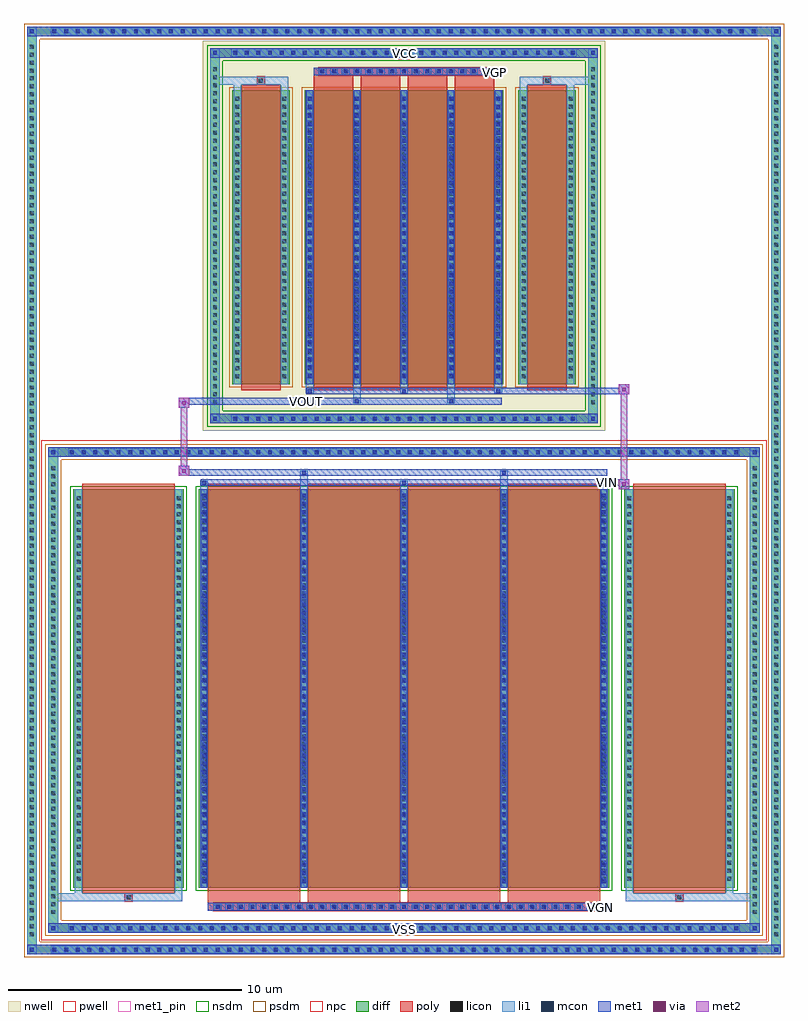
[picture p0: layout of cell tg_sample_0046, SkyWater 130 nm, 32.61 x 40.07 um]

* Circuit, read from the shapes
.subckt tg_sample_0046 VCC VGN VGP VIN VOUT VSS
XM1 VSS VSS VSS VSUBS sky130_fd_pr__nfet_01v8 w=17.09 l=3.96 m=2
XM2 VOUT VGN VIN VSUBS sky130_fd_pr__nfet_01v8 w=17.09 l=3.96 m=4
XM3 VCC VCC VCC n1 sky130_fd_pr__pfet_01v8 w=12.61 l=1.69 m=2
XM4 VOUT VGP VIN n1 sky130_fd_pr__pfet_01v8 w=12.61 l=1.69 m=4
.ends

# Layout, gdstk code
import gdstk
lib = gdstk.Library(unit=1e-6, precision=5e-09)
def R(c, l, rs):  # rectangles x0, y0, x1, y1
    for r in rs: c.add(gdstk.rectangle(r[:2], r[2:], *l))
def A(c, l, x, y, w, h, nx, ny, dx, dy):  # array of equal rectangles
    R(c, l, [(x+i*dx, y+j*dy, x+i*dx+w, y+j*dy+h) for i in range(nx) for j in range(ny)])
def P(c, l, *ps):  # polygons
    for p in ps: c.add(gdstk.Polygon(p, *l))
nwell = (64, 20)
pwell = (64, 44)
diff = (65, 20)
poly = (66, 20)
licon = (66, 44)
li1 = (67, 20)
mcon = (67, 44)
met1_pin = (68, 16)
met1 = (68, 20)
via = (68, 44)
met2 = (69, 20)
nsdm = (93, 44)
psdm = (94, 20)
npc = (95, 20)

tg_sample_0046 = lib.new_cell('tg_sample_0046')
R(tg_sample_0046, nwell, [(-8.625,11.13,8.625,27.86)])
R(tg_sample_0046, pwell, [(-15.565,-10.73,15.565,10.73)])
A(tg_sample_0046, diff, -15.205, -11.34, 0.41, 0.41, 61, 2, 0.5, 39.4)
A(tg_sample_0046, diff, -16.175, -10.68, 0.41, 0.41, 1, 113, 0, 0.34)
A(tg_sample_0046, diff, 15.765, -10.68, 0.41, 0.41, 1, 113, 0, 0.34)
A(tg_sample_0046, diff, -14.455, -10.42, 0.41, 0.41, 58, 2, 0.5, 20.43)
A(tg_sample_0046, diff, -15.255, -9.725, 0.41, 0.41, 1, 57, 0, 0.34)
A(tg_sample_0046, diff, 14.845, -9.725, 0.41, 0.41, 1, 57, 0, 0.34)
A(tg_sample_0046, diff, -7.455, 11.44, 0.41, 0.41, 30, 2, 0.5, 15.7)
A(tg_sample_0046, diff, -8.315, 12.15, 0.41, 0.41, 1, 43, 0, 0.34)
A(tg_sample_0046, diff, 7.905, 12.15, 0.41, 0.41, 1, 43, 0, 0.34)
R(tg_sample_0046, diff, [(-15.205,-11.34,15.205,-10.93), (-16.175,-10.68,-15.765,27.81), (15.765,-10.68,16.175,27.81), (-14.455,-10.42,14.455,-10.01), (-15.255,-9.725,-14.845,9.725), (14.845,-9.725,15.255,9.725), (-14.185,-8.475,-9.445,8.615), (-8.805,-8.475,8.805,8.615), (9.445,-8.475,14.185,8.615), (-14.455,10.01,14.455,10.42), (-7.455,11.44,7.455,11.85), (-8.315,12.15,-7.905,26.84), (7.905,12.15,8.315,26.84), (-7.375,13.12,-4.905,25.73), (-4.265,13.12,4.265,25.73), (4.905,13.12,7.375,25.73), (-7.455,27.14,7.455,27.55), (-15.205,28.06,15.205,28.47)])
P(tg_sample_0046, diff, [(15.255,10.42),(-15.255,10.42),(-15.255,-10.01),(-14.845,-10.01),(-14.845,10.01),(14.845,10.01),(14.845,-10.01),(-14.845,-10.01),(-15.255,-10.01),(-15.255,-10.42),(15.255,-10.42)],
  [(16.175,28.47),(-16.175,28.47),(-16.175,-10.93),(-15.765,-10.93),(-15.765,28.06),(15.765,28.06),(15.765,-10.93),(-15.765,-10.93),(-16.175,-10.93),(-16.175,-11.34),(16.175,-11.34)],
  [(8.315,11.44),(-8.315,11.44),(-8.315,27.14),(-7.905,27.14),(-7.905,11.85),(7.905,11.85),(7.905,27.14),(-7.905,27.14),(-8.315,27.14),(-8.315,27.55),(8.315,27.55)])
A(tg_sample_0046, poly, -8.165, -9.46, 0.33, 0.33, 33, 1, 0.5, 0)
A(tg_sample_0046, poly, -8.415, -9.13, 3.96, 0.405, 4, 1, 4.29, 0)
A(tg_sample_0046, poly, -8.415, -8.725, 3.96, 17.59, 4, 1, 4.29, 0)
A(tg_sample_0046, poly, -3.875, 12.87, 1.69, 13.11, 4, 1, 2.02, 0)
A(tg_sample_0046, poly, -3.875, 25.98, 1.69, 0.405, 4, 1, 2.02, 0)
A(tg_sample_0046, poly, -3.665, 26.385, 0.33, 0.33, 15, 1, 0.5, 0)
R(tg_sample_0046, poly, [(-8.415,-9.46,8.415,-9.13), (-11.98,-9.055,-11.65,-8.725), (-11.98,-9.055,-11.65,-8.725), (11.65,-9.055,11.98,-8.725), (11.65,-9.055,11.98,-8.725), (-13.795,-8.725,-9.835,8.865), (9.835,-8.725,13.795,8.865), (-6.985,12.87,-5.295,25.98), (5.295,12.87,6.985,25.98), (-6.305,25.98,-5.975,26.31), (-6.305,25.98,-5.975,26.31), (5.975,25.98,6.305,26.31), (5.975,25.98,6.305,26.31), (-3.875,26.385,3.875,26.715)])
A(tg_sample_0046, licon, -15.085, -11.22, 0.17, 0.17, 61, 2, 0.5, 39.4)
A(tg_sample_0046, licon, -16.055, -10.56, 0.17, 0.17, 1, 113, 0, 0.34)
A(tg_sample_0046, licon, 15.885, -10.56, 0.17, 0.17, 1, 113, 0, 0.34)
A(tg_sample_0046, licon, -14.335, -10.3, 0.17, 0.17, 58, 2, 0.5, 20.43)
A(tg_sample_0046, licon, -15.135, -9.605, 0.17, 0.17, 1, 57, 0, 0.34)
A(tg_sample_0046, licon, 14.965, -9.605, 0.17, 0.17, 1, 57, 0, 0.34)
A(tg_sample_0046, licon, -8.085, -9.38, 0.17, 0.17, 33, 1, 0.5, 0)
A(tg_sample_0046, licon, -14.045, -8.175, 0.17, 0.17, 1, 49, 0, 0.34)
A(tg_sample_0046, licon, -9.755, -8.175, 0.17, 0.17, 1, 49, 0, 0.34)
A(tg_sample_0046, licon, -8.665, -8.175, 0.17, 0.17, 5, 49, 4.29, 0.34)
A(tg_sample_0046, licon, 9.585, -8.175, 0.17, 0.17, 1, 49, 0, 0.34)
A(tg_sample_0046, licon, 13.875, -8.175, 0.17, 0.17, 1, 49, 0, 0.34)
A(tg_sample_0046, licon, -7.335, 11.56, 0.17, 0.17, 30, 2, 0.5, 15.7)
A(tg_sample_0046, licon, -8.195, 12.27, 0.17, 0.17, 1, 43, 0, 0.34)
A(tg_sample_0046, licon, 8.025, 12.27, 0.17, 0.17, 1, 43, 0, 0.34)
A(tg_sample_0046, licon, -7.235, 13.39, 0.17, 0.17, 1, 36, 0, 0.34)
A(tg_sample_0046, licon, -5.215, 13.39, 0.17, 0.17, 1, 36, 0, 0.34)
A(tg_sample_0046, licon, -4.125, 13.39, 0.17, 0.17, 5, 36, 2.02, 0.34)
A(tg_sample_0046, licon, 5.045, 13.39, 0.17, 0.17, 1, 36, 0, 0.34)
A(tg_sample_0046, licon, 7.065, 13.39, 0.17, 0.17, 1, 36, 0, 0.34)
A(tg_sample_0046, licon, -3.585, 26.465, 0.17, 0.17, 15, 1, 0.5, 0)
R(tg_sample_0046, licon, [(-11.9,-8.975,-11.73,-8.805), (11.73,-8.975,11.9,-8.805), (-6.225,26.06,-6.055,26.23), (6.055,26.06,6.225,26.23)])
A(tg_sample_0046, li1, -15.165, -11.3, 0.33, 0.33, 61, 2, 0.5, 39.4)
A(tg_sample_0046, li1, -16.135, -10.64, 0.33, 0.33, 1, 113, 0, 0.34)
A(tg_sample_0046, li1, 15.805, -10.64, 0.33, 0.33, 1, 113, 0, 0.34)
A(tg_sample_0046, li1, -14.415, -10.38, 0.33, 0.33, 58, 2, 0.5, 20.43)
A(tg_sample_0046, li1, -15.215, -9.685, 0.33, 0.33, 1, 57, 0, 0.34)
A(tg_sample_0046, li1, 14.885, -9.685, 0.33, 0.33, 1, 57, 0, 0.34)
A(tg_sample_0046, li1, -8.165, -9.46, 0.33, 0.33, 33, 1, 0.5, 0)
A(tg_sample_0046, li1, -8.745, -8.475, 0.33, 17.09, 5, 1, 4.29, 0)
A(tg_sample_0046, li1, -8.665, -8.295, 0.17, 0.17, 5, 47, 4.29, 0.36)
A(tg_sample_0046, li1, -8.665, -8.295, 0.17, 16.73, 5, 1, 4.29, 0)
A(tg_sample_0046, li1, -14.125, -8.255, 0.33, 0.33, 1, 49, 0, 0.34)
A(tg_sample_0046, li1, -9.835, -8.255, 0.33, 0.33, 1, 49, 0, 0.34)
A(tg_sample_0046, li1, -8.745, -8.255, 0.33, 0.33, 5, 49, 4.29, 0.34)
A(tg_sample_0046, li1, 9.505, -8.255, 0.33, 0.33, 1, 49, 0, 0.34)
A(tg_sample_0046, li1, 13.795, -8.255, 0.33, 0.33, 1, 49, 0, 0.34)
A(tg_sample_0046, li1, -8.745, 8.615, 0.33, 0.375, 3, 1, 8.58, 0)
A(tg_sample_0046, li1, -8.665, 8.82, 0.17, 0.17, 3, 1, 8.58, 0)
A(tg_sample_0046, li1, -7.415, 11.48, 0.33, 0.33, 30, 2, 0.5, 15.7)
A(tg_sample_0046, li1, -8.275, 12.19, 0.33, 0.33, 1, 43, 0, 0.34)
A(tg_sample_0046, li1, 7.945, 12.19, 0.33, 0.33, 1, 43, 0, 0.34)
A(tg_sample_0046, li1, -4.205, 12.745, 0.33, 0.375, 3, 1, 4.04, 0)
A(tg_sample_0046, li1, -4.125, 12.745, 0.17, 0.17, 3, 1, 4.04, 0)
A(tg_sample_0046, li1, -4.205, 13.12, 0.33, 12.61, 5, 1, 2.02, 0)
A(tg_sample_0046, li1, -7.315, 13.31, 0.33, 0.33, 1, 36, 0, 0.34)
A(tg_sample_0046, li1, -5.295, 13.31, 0.33, 0.33, 1, 36, 0, 0.34)
A(tg_sample_0046, li1, -4.205, 13.31, 0.33, 0.33, 5, 36, 2.02, 0.34)
A(tg_sample_0046, li1, 4.965, 13.31, 0.33, 0.33, 1, 36, 0, 0.34)
A(tg_sample_0046, li1, 6.985, 13.31, 0.33, 0.33, 1, 36, 0, 0.34)
A(tg_sample_0046, li1, -4.125, 13.4, 0.17, 0.17, 5, 34, 2.02, 0.36)
A(tg_sample_0046, li1, -4.125, 13.4, 0.17, 12.05, 5, 1, 2.02, 0)
A(tg_sample_0046, li1, -3.665, 26.385, 0.33, 0.33, 15, 1, 0.5, 0)
R(tg_sample_0046, li1, [(-16.175,-11.34,-15.765,-10.93), (15.765,-11.34,16.175,-10.93), (-15.165,-11.3,15.165,-10.97), (-16.055,-11.22,-15.885,-11.05), (-16.055,-11.22,-15.885,-11.05), (15.885,-11.22,16.055,-11.05), (15.885,-11.22,16.055,-11.05), (-16.175,-10.93,-15.765,28.06), (15.765,-10.93,16.175,28.06), (-15.255,-10.42,-14.845,-10.01), (14.845,-10.42,15.255,-10.01), (-14.415,-10.38,14.415,-10.05), (-15.135,-10.3,-14.965,-10.13), (-15.135,-10.3,-14.965,-10.13), (14.965,-10.3,15.135,-10.13), (14.965,-10.3,15.135,-10.13), (-15.255,-10.01,-14.845,10.01), (14.845,-10.01,15.255,10.01), (-15.255,-9.055,-11.98,-8.725), (-14.125,-9.055,-11.98,-8.725), (-14.125,-9.055,-13.795,-8.475), (-11.98,-9.055,-11.65,-8.725), (-11.65,-9.055,-9.505,-8.725), (-9.835,-9.055,-9.505,-8.475), (9.505,-9.055,11.65,-8.725), (9.505,-9.055,9.835,-8.475), (11.65,-9.055,11.98,-8.725), (11.65,-9.055,15.255,-8.725), (11.98,-9.055,14.125,-8.725), (13.795,-9.055,14.125,-8.475), (-14.125,-8.475,-13.795,8.615), (-9.835,-8.475,-9.505,8.615), (9.505,-8.475,9.835,8.615), (13.795,-8.475,14.125,8.615), (-4.455,8.615,-4.125,9.42), (4.125,8.615,4.455,9.42), (-4.375,9.25,-4.205,9.42), (4.205,9.25,4.375,9.42), (-15.255,10.01,-14.845,10.42), (14.845,10.01,15.255,10.42), (-14.415,10.05,14.415,10.38), (-15.135,10.13,-14.965,10.3), (-15.135,10.13,-14.965,10.3), (14.965,10.13,15.135,10.3), (14.965,10.13,15.135,10.3), (-8.315,11.44,-7.905,11.85), (7.905,11.44,8.315,11.85), (-7.415,11.48,7.415,11.81), (-8.195,11.56,-8.025,11.73), (-8.195,11.56,-8.025,11.73), (8.025,11.56,8.195,11.73), (8.025,11.56,8.195,11.73), (-8.315,11.85,-7.905,27.14), (7.905,11.85,8.315,27.14), (-2.185,12.315,-1.855,13.12), (-2.105,12.315,-1.935,12.485), (1.855,12.315,2.185,13.12), (1.935,12.315,2.105,12.485), (-7.315,13.12,-6.985,25.73), (-5.295,13.12,-4.965,25.73), (4.965,13.12,5.295,25.73), (6.985,13.12,7.315,25.73), (-7.315,25.73,-6.985,26.31), (-5.295,25.73,-4.965,26.31), (4.965,25.73,5.295,26.31), (6.985,25.73,7.315,26.31), (-8.315,25.98,-6.305,26.31), (-7.315,25.98,-6.305,26.31), (-6.305,25.98,-5.975,26.31), (-5.975,25.98,-4.965,26.31), (4.965,25.98,5.975,26.31), (5.975,25.98,6.305,26.31), (5.975,25.98,8.315,26.31), (6.305,25.98,7.315,26.31), (-8.315,27.14,-7.905,27.55), (7.905,27.14,8.315,27.55), (-7.415,27.18,7.415,27.51), (-8.195,27.26,-8.025,27.43), (-8.195,27.26,-8.025,27.43), (8.025,27.26,8.195,27.43), (8.025,27.26,8.195,27.43), (-16.175,28.06,-15.765,28.47), (15.765,28.06,16.175,28.47), (-15.165,28.1,15.165,28.43), (-16.055,28.18,-15.885,28.35), (-16.055,28.18,-15.885,28.35), (15.885,28.18,16.055,28.35), (15.885,28.18,16.055,28.35)])
A(tg_sample_0046, mcon, -15.085, -11.22, 0.17, 0.17, 61, 2, 0.5, 39.4)
A(tg_sample_0046, mcon, -14.335, -10.3, 0.17, 0.17, 58, 2, 0.5, 20.43)
A(tg_sample_0046, mcon, -8.085, -9.38, 0.17, 0.17, 33, 1, 0.5, 0)
A(tg_sample_0046, mcon, -8.665, -8.295, 0.17, 0.17, 5, 47, 4.29, 0.36)
A(tg_sample_0046, mcon, -8.665, 8.82, 0.17, 0.17, 3, 1, 8.58, 0)
A(tg_sample_0046, mcon, -7.335, 11.56, 0.17, 0.17, 30, 2, 0.5, 15.7)
A(tg_sample_0046, mcon, -4.125, 12.745, 0.17, 0.17, 3, 1, 4.04, 0)
A(tg_sample_0046, mcon, -4.125, 13.4, 0.17, 0.17, 5, 34, 2.02, 0.36)
A(tg_sample_0046, mcon, -3.585, 26.465, 0.17, 0.17, 15, 1, 0.5, 0)
R(tg_sample_0046, mcon, [(-16.055,-11.22,-15.885,-11.05), (15.885,-11.22,16.055,-11.05), (-15.135,-10.3,-14.965,-10.13), (14.965,-10.3,15.135,-10.13), (-4.375,9.25,-4.205,9.42), (4.205,9.25,4.375,9.42), (-15.135,10.13,-14.965,10.3), (14.965,10.13,15.135,10.3), (-8.195,11.56,-8.025,11.73), (8.025,11.56,8.195,11.73), (-2.105,12.315,-1.935,12.485), (1.935,12.315,2.105,12.485), (-8.195,27.26,-8.025,27.43), (8.025,27.26,8.195,27.43), (-16.055,28.18,-15.885,28.35), (15.885,28.18,16.055,28.35)])
R(tg_sample_0046, met1_pin, [(-0.25,-10.51,0.25,-10.01), (8.28,-9.46,8.55,-9.19), (8.59,8.76,8.86,9.03), (-4.32,12.255,-4.05,12.525), (3.74,26.385,4.01,26.655), (-0.25,27.05,0.25,27.55)])
A(tg_sample_0046, met1, -15.145, -11.28, 0.29, 0.29, 61, 2, 0.5, 39.4)
A(tg_sample_0046, met1, -14.395, -10.36, 0.29, 0.29, 58, 2, 0.5, 20.43)
A(tg_sample_0046, met1, -8.145, -9.44, 0.29, 0.29, 33, 1, 0.5, 0)
A(tg_sample_0046, met1, -8.725, -8.475, 0.29, 17.09, 5, 1, 4.29, 0)
A(tg_sample_0046, met1, -8.725, -8.355, 0.29, 0.29, 5, 47, 4.29, 0.36)
A(tg_sample_0046, met1, -8.725, 8.76, 0.29, 0.29, 3, 1, 8.58, 0)
A(tg_sample_0046, met1, -7.395, 11.5, 0.29, 0.29, 30, 2, 0.5, 15.7)
A(tg_sample_0046, met1, -4.185, 12.685, 0.29, 0.29, 3, 1, 4.04, 0)
A(tg_sample_0046, met1, -4.185, 13.12, 0.29, 12.61, 5, 1, 2.02, 0)
A(tg_sample_0046, met1, -4.185, 13.34, 0.29, 0.29, 5, 34, 2.02, 0.36)
A(tg_sample_0046, met1, -3.645, 26.405, 0.29, 0.29, 15, 1, 0.5, 0)
R(tg_sample_0046, met1, [(-16.175,-11.34,-15.765,-10.93), (-16.175,-11.34,-15.765,-10.93), (-15.765,-11.34,15.765,-10.93), (15.765,-11.34,16.175,-10.93), (15.765,-11.34,16.175,-10.93), (-16.115,-11.28,-15.825,-10.99), (15.825,-11.28,16.115,-10.99), (-15.255,-10.42,-14.845,-10.01), (-15.255,-10.42,-14.845,-10.01), (-14.845,-10.42,14.845,-10.01), (14.845,-10.42,15.255,-10.01), (14.845,-10.42,15.255,-10.01), (-15.195,-10.36,-14.905,-10.07), (14.905,-10.36,15.195,-10.07), (-8.415,-9.46,8.415,-9.13), (9.225,8.62,9.655,9.05), (-8.725,8.76,8.725,9.05), (8.725,8.76,9.655,9.05), (-9.655,9.19,-8.725,9.48), (-9.655,9.19,-9.225,9.62), (-8.725,9.19,8.725,9.48), (-4.435,9.19,-4.145,9.48), (4.145,9.19,4.435,9.48), (-15.255,10.01,-14.845,10.42), (-15.255,10.01,-14.845,10.42), (-14.845,10.01,14.845,10.42), (14.845,10.01,15.255,10.42), (14.845,10.01,15.255,10.42), (-15.195,10.07,-14.905,10.36), (14.905,10.07,15.195,10.36), (-8.315,11.44,-7.905,11.85), (-8.315,11.44,-7.905,11.85), (-7.905,11.44,7.905,11.85), (7.905,11.44,8.315,11.85), (7.905,11.44,8.315,11.85), (-8.255,11.5,-7.965,11.79), (7.965,11.5,8.255,11.79), (-9.655,12.115,-9.225,12.545), (-9.655,12.255,-4.185,12.545), (-4.185,12.255,4.185,12.545), (-2.165,12.255,-1.875,12.545), (1.875,12.255,2.165,12.545), (-4.185,12.685,4.185,12.975), (4.185,12.685,9.655,12.975), (9.225,12.685,9.655,13.115), (-3.875,26.385,3.875,26.715), (-8.315,27.14,-7.905,27.55), (-8.315,27.14,-7.905,27.55), (-7.905,27.14,7.905,27.55), (7.905,27.14,8.315,27.55), (7.905,27.14,8.315,27.55), (-8.255,27.2,-7.965,27.49), (7.965,27.2,8.255,27.49), (-16.175,28.06,-15.765,28.47), (-16.175,28.06,-15.765,28.47), (-15.765,28.06,15.765,28.47), (15.765,28.06,16.175,28.47), (15.765,28.06,16.175,28.47), (-16.115,28.12,-15.825,28.41), (15.825,28.12,16.115,28.41)])
R(tg_sample_0046, via, [(9.365,8.76,9.515,8.91), (-9.515,9.33,-9.365,9.48), (-9.515,12.255,-9.365,12.405), (9.365,12.825,9.515,12.975)])
R(tg_sample_0046, met2, [(9.225,8.62,9.655,9.05), (9.295,8.62,9.585,13.115), (9.585,8.62,9.655,9.05), (9.275,8.67,9.605,9), (-9.655,9.19,-9.225,9.62), (-9.585,9.19,-9.295,12.545), (-9.295,9.19,-9.225,9.62), (-9.605,9.24,-9.275,9.57), (-9.655,12.115,-9.225,12.545), (-9.295,12.115,-9.225,12.545), (-9.605,12.165,-9.275,12.495), (9.225,12.685,9.655,13.115), (9.585,12.685,9.655,13.115), (9.275,12.735,9.605,13.065)])
R(tg_sample_0046, nsdm, [(-14.315,-8.605,-9.315,8.745), (-8.935,-8.605,8.935,8.745), (9.315,-8.605,14.315,8.745)])
P(tg_sample_0046, nsdm, [(8.445,11.31),(-8.445,11.31),(-8.445,27.01),(-7.775,27.01),(-7.775,11.98),(7.775,11.98),(7.775,27.01),(-7.775,27.01),(-8.445,27.01),(-8.445,27.68),(8.445,27.68)])
R(tg_sample_0046, psdm, [(-7.505,12.99,-4.775,25.86), (-4.395,12.99,4.395,25.86), (4.775,12.99,7.505,25.86)])
P(tg_sample_0046, psdm, [(15.385,10.55),(-15.385,10.55),(-15.385,-9.88),(-14.715,-9.88),(-14.715,9.88),(14.715,9.88),(14.715,-9.88),(-14.715,-9.88),(-15.385,-9.88),(-15.385,-10.55),(15.385,-10.55)],
  [(16.305,28.6),(-16.305,28.6),(-16.305,-10.8),(-15.635,-10.8),(-15.635,27.93),(15.635,27.93),(15.635,-10.8),(-15.635,-10.8),(-16.305,-10.8),(-16.305,-11.47),(16.305,-11.47)])
A(tg_sample_0046, npc, -8.185, -9.48, 0.37, 0.37, 33, 1, 0.5, 0)
A(tg_sample_0046, npc, -3.685, 26.365, 0.37, 0.37, 15, 1, 0.5, 0)
R(tg_sample_0046, npc, [(-8.185,-9.48,-7.315,-9.11), (-8.185,-9.48,-7.315,-9.11), (-7.685,-9.48,-6.815,-9.11), (-7.685,-9.48,-6.815,-9.11), (-7.185,-9.48,-6.315,-9.11), (-7.185,-9.48,-6.315,-9.11), (-6.685,-9.48,-5.815,-9.11), (-6.685,-9.48,-5.815,-9.11), (-6.185,-9.48,-5.315,-9.11), (-6.185,-9.48,-5.315,-9.11), (-5.685,-9.48,-4.815,-9.11), (-5.685,-9.48,-4.815,-9.11), (-5.185,-9.48,-4.315,-9.11), (-5.185,-9.48,-4.315,-9.11), (-4.685,-9.48,-3.815,-9.11), (-4.685,-9.48,-3.815,-9.11), (-4.185,-9.48,-3.315,-9.11), (-4.185,-9.48,-3.315,-9.11), (-3.685,-9.48,-2.815,-9.11), (-3.685,-9.48,-2.815,-9.11), (-3.185,-9.48,-2.315,-9.11), (-3.185,-9.48,-2.315,-9.11), (-2.685,-9.48,-1.815,-9.11), (-2.685,-9.48,-1.815,-9.11), (-2.185,-9.48,-1.315,-9.11), (-2.185,-9.48,-1.315,-9.11), (-1.685,-9.48,-0.815,-9.11), (-1.685,-9.48,-0.815,-9.11), (-1.185,-9.48,-0.315,-9.11), (-1.185,-9.48,-0.315,-9.11), (-0.685,-9.48,0.185,-9.11), (-0.685,-9.48,0.185,-9.11), (-0.185,-9.48,0.685,-9.11), (-0.185,-9.48,0.685,-9.11), (0.315,-9.48,1.185,-9.11), (0.315,-9.48,1.185,-9.11), (0.815,-9.48,1.685,-9.11), (0.815,-9.48,1.685,-9.11), (1.315,-9.48,2.185,-9.11), (1.315,-9.48,2.185,-9.11), (1.815,-9.48,2.685,-9.11), (1.815,-9.48,2.685,-9.11), (2.315,-9.48,3.185,-9.11), (2.315,-9.48,3.185,-9.11), (2.815,-9.48,3.685,-9.11), (2.815,-9.48,3.685,-9.11), (3.315,-9.48,4.185,-9.11), (3.315,-9.48,4.185,-9.11), (3.815,-9.48,4.685,-9.11), (3.815,-9.48,4.685,-9.11), (4.315,-9.48,5.185,-9.11), (4.315,-9.48,5.185,-9.11), (4.815,-9.48,5.685,-9.11), (4.815,-9.48,5.685,-9.11), (5.315,-9.48,6.185,-9.11), (5.315,-9.48,6.185,-9.11), (5.815,-9.48,6.685,-9.11), (5.815,-9.48,6.685,-9.11), (6.315,-9.48,7.185,-9.11), (6.315,-9.48,7.185,-9.11), (6.815,-9.48,7.685,-9.11), (6.815,-9.48,7.685,-9.11), (7.315,-9.48,8.185,-9.11), (7.315,-9.48,8.185,-9.11), (-12,-9.075,-11.63,-8.705), (11.63,-9.075,12,-8.705), (-6.325,25.96,-5.955,26.33), (5.955,25.96,6.325,26.33), (-3.685,26.365,-2.815,26.735), (-3.685,26.365,-2.815,26.735), (-3.185,26.365,-2.315,26.735), (-3.185,26.365,-2.315,26.735), (-2.685,26.365,-1.815,26.735), (-2.685,26.365,-1.815,26.735), (-2.185,26.365,-1.315,26.735), (-2.185,26.365,-1.315,26.735), (-1.685,26.365,-0.815,26.735), (-1.685,26.365,-0.815,26.735), (-1.185,26.365,-0.315,26.735), (-1.185,26.365,-0.315,26.735), (-0.685,26.365,0.185,26.735), (-0.685,26.365,0.185,26.735), (-0.185,26.365,0.685,26.735), (-0.185,26.365,0.685,26.735), (0.315,26.365,1.185,26.735), (0.315,26.365,1.185,26.735), (0.815,26.365,1.685,26.735), (0.815,26.365,1.685,26.735), (1.315,26.365,2.185,26.735), (1.315,26.365,2.185,26.735), (1.815,26.365,2.685,26.735), (1.815,26.365,2.685,26.735), (2.315,26.365,3.185,26.735), (2.315,26.365,3.185,26.735), (2.815,26.365,3.685,26.735), (2.815,26.365,3.685,26.735)])
tg_sample_0046.add(gdstk.Label('VIN', (8.725,8.895), layer=68, texttype=5))
tg_sample_0046.add(gdstk.Label('VGN', (8.415,-9.325), layer=68, texttype=5))
tg_sample_0046.add(gdstk.Label('VGP', (3.875,26.52), layer=68, texttype=5))
tg_sample_0046.add(gdstk.Label('VSS', (0,-10.26), layer=68, texttype=5))
tg_sample_0046.add(gdstk.Label('VCC', (0,27.3), layer=68, texttype=5))
tg_sample_0046.add(gdstk.Label('VOUT', (-4.185,12.39), layer=68, texttype=5))

lib.write_gds('tg_sample_0046.gds')
